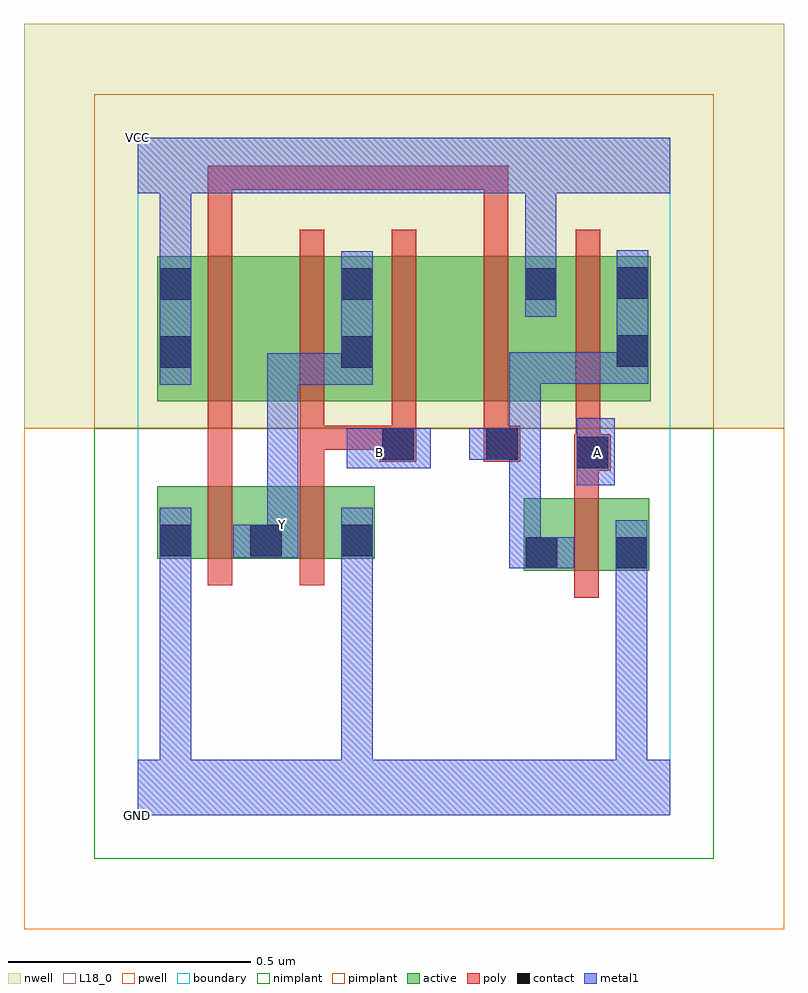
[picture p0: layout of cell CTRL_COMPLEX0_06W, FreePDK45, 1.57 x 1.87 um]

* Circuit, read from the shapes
.subckt CTRL_COMPLEX0_06W A B GND VCC Y
M1 Y n1 GND VSUBS nfet w=0.15u l=0.05u
M2 GND B Y VSUBS nfet w=0.15u l=0.05u
M3 GND A n1 VSUBS nfet w=0.15u l=0.05u
M4 n2 n1 VCC n3 pfet w=0.3u l=0.05u
M5 Y B n2 n3 pfet w=0.3u l=0.05u
M6 n4 B Y n3 pfet w=0.3u l=0.05u
M7 VCC n1 n4 n3 pfet w=0.3u l=0.05u
M8 n1 A VCC n3 pfet w=0.3u l=0.05u
.ends

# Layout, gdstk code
import gdstk
lib = gdstk.Library(unit=1e-6, precision=1e-09)
def R(c, l, rs):  # rectangles x0, y0, x1, y1
    for r in rs: c.add(gdstk.rectangle(r[:2], r[2:], *l))
def A(c, l, x, y, w, h, nx, ny, dx, dy):  # array of equal rectangles
    R(c, l, [(x+i*dx, y+j*dy, x+i*dx+w, y+j*dy+h) for i in range(nx) for j in range(ny)])
active = (1, 0)
pwell = (2, 0)
nwell = (3, 0)
nimplant = (4, 0)
pimplant = (5, 0)
poly = (9, 0)
contact = (10, 0)
metal1 = (11, 0)
L18_0 = (18, 0)
boundary = (235, 0)

ctrl_complex0_06w = lib.new_cell('CTRL_COMPLEX0_06W')
R(ctrl_complex0_06w, active, [(0.797,0.505,0.872,0.655), (0.797,0.505,1.057,0.655), (0.982,0.505,1.057,0.655), (0.04,0.53,0.115,0.68), (0.04,0.53,0.302,0.68), (0.227,0.53,0.302,0.68), (0.227,0.53,0.49,0.68), (0.415,0.53,0.49,0.68), (0.04,0.855,0.115,1.155), (0.04,0.855,0.265,1.155), (0.265,0.855,0.49,1.155), (0.415,0.855,0.49,1.155), (0.415,0.855,0.645,1.155), (0.645,0.855,0.87,1.155), (0.795,0.855,1.06,1.155), (0.985,0.855,1.06,1.155), (0.795,1.007,0.87,1.155)])
R(ctrl_complex0_06w, pwell, [(-0.235,-0.235,1.335,0.8)])
R(ctrl_complex0_06w, nwell, [(-0.235,0.8,1.335,1.635)])
R(ctrl_complex0_06w, nimplant, [(-0.09,-0.09,1.19,0.8)])
R(ctrl_complex0_06w, pimplant, [(-0.09,0.8,1.19,1.49)])
A(ctrl_complex0_06w, poly, 0.335, 0.755, 0.05, 0.095, 3, 1, 0.19, 0)
A(ctrl_complex0_06w, poly, 0.145, 0.8, 0.05, 0.41, 5, 1, 0.19, 0)
R(ctrl_complex0_06w, poly, [(0.902,0.45,0.952,0.71), (0.145,0.475,0.195,0.735), (0.335,0.475,0.385,0.735), (0.902,0.66,0.952,0.762), (0.145,0.685,0.195,0.78), (0.335,0.685,0.385,0.805), (0.902,0.712,0.977,0.787), (0.145,0.73,0.195,0.78), (0.145,0.73,0.195,0.85), (0.5,0.73,0.575,0.805), (0.715,0.73,0.79,0.805), (0.905,0.737,0.955,0.85), (0.335,0.755,0.385,0.805), (0.335,0.755,0.55,0.805), (0.5,0.755,0.55,0.805), (0.5,0.755,0.55,0.805), (0.145,1.16,0.195,1.342), (0.715,1.16,0.765,1.342), (0.145,1.292,0.195,1.342), (0.145,1.292,0.195,1.342), (0.145,1.292,0.195,1.342), (0.145,1.292,0.327,1.342), (0.277,1.292,0.327,1.342), (0.277,1.292,0.517,1.342), (0.467,1.292,0.517,1.342), (0.467,1.292,0.517,1.342), (0.467,1.292,0.517,1.342), (0.467,1.292,0.765,1.342), (0.715,1.292,0.765,1.342), (0.715,1.292,0.765,1.342), (0.715,1.292,0.765,1.342)])
R(ctrl_complex0_06w, contact, [(0.802,0.51,0.867,0.575), (0.987,0.51,1.052,0.575), (0.045,0.535,0.11,0.6), (0.232,0.535,0.297,0.6), (0.42,0.535,0.485,0.6), (0.907,0.717,0.972,0.782), (0.505,0.735,0.57,0.8), (0.72,0.735,0.785,0.8), (0.045,0.925,0.11,0.99), (0.42,0.925,0.485,0.99), (0.99,0.927,1.055,0.992), (0.045,1.065,0.11,1.13), (0.42,1.065,0.485,1.13), (0.8,1.065,0.865,1.13), (0.99,1.067,1.055,1.132)])
R(ctrl_complex0_06w, metal1, [(0,0,1.1,0.115), (0.045,0.05,0.11,0.115), (0.045,0.05,0.11,0.115), (0.045,0.05,0.11,0.115), (0.045,0.05,0.11,0.115), (0.045,0.05,0.11,0.115), (0.045,0.05,0.11,0.115), (0.045,0.05,0.11,0.115), (0.045,0.05,0.11,0.115), (0.045,0.05,0.11,0.565), (0.42,0.05,0.485,0.115), (0.42,0.05,0.485,0.115), (0.42,0.05,0.485,0.115), (0.42,0.05,0.485,0.115), (0.42,0.05,0.485,0.115), (0.42,0.05,0.485,0.115), (0.42,0.05,0.485,0.115), (0.42,0.05,0.485,0.115), (0.42,0.05,0.485,0.565), (0.987,0.05,1.052,0.115), (0.987,0.05,1.052,0.115), (0.987,0.05,1.052,0.115), (0.987,0.05,1.052,0.115), (0.987,0.05,1.052,0.115), (0.987,0.05,1.052,0.115), (0.987,0.05,1.052,0.115), (0.987,0.05,1.052,0.115), (0.987,0.05,1.052,0.54), (0.987,0.475,1.052,0.61), (0.045,0.5,0.11,0.635), (0.42,0.5,0.485,0.635), (0.767,0.51,0.832,0.8), (0.767,0.51,0.902,0.575), (0.197,0.532,0.332,0.6), (0.267,0.532,0.332,0.667), (0.267,0.535,0.332,0.6), (0.267,0.602,0.332,0.955), (0.907,0.682,0.985,0.82), (0.432,0.717,0.605,0.8), (0.685,0.735,0.82,0.8), (0.755,0.735,0.82,0.8), (0.755,0.735,0.832,0.8), (0.767,0.735,0.832,0.957), (0.045,0.89,0.11,1.165), (0.267,0.89,0.332,0.955), (0.267,0.89,0.332,0.955), (0.267,0.89,0.332,0.955), (0.267,0.89,0.485,0.955), (0.42,0.89,0.485,1.165), (0.767,0.892,0.832,0.957), (0.767,0.892,1.055,0.957), (0.99,0.892,1.055,0.957), (0.99,0.892,1.055,0.957), (0.99,0.892,1.055,1.167), (0.8,1.03,0.865,1.165), (0.045,1.1,0.11,1.165), (0.045,1.1,0.11,1.165), (0.045,1.1,0.11,1.35), (0.8,1.1,0.865,1.35), (0,1.285,1.1,1.4), (0.8,1.285,0.865,1.35), (0.8,1.285,0.865,1.35)])
R(ctrl_complex0_06w, L18_0, [(0,0,1.1,0.115), (0.045,0.05,0.11,0.115), (0.045,0.05,0.11,0.115), (0.045,0.05,0.11,0.115), (0.045,0.05,0.11,0.115), (0.045,0.05,0.11,0.115), (0.045,0.05,0.11,0.115), (0.045,0.05,0.11,0.115), (0.045,0.05,0.11,0.115), (0.045,0.05,0.11,0.565), (0.42,0.05,0.485,0.115), (0.42,0.05,0.485,0.115), (0.42,0.05,0.485,0.115), (0.42,0.05,0.485,0.115), (0.42,0.05,0.485,0.115), (0.42,0.05,0.485,0.115), (0.42,0.05,0.485,0.115), (0.42,0.05,0.485,0.115), (0.42,0.05,0.485,0.565), (0.987,0.05,1.052,0.115), (0.987,0.05,1.052,0.115), (0.987,0.05,1.052,0.115), (0.987,0.05,1.052,0.115), (0.987,0.05,1.052,0.115), (0.987,0.05,1.052,0.115), (0.987,0.05,1.052,0.115), (0.987,0.05,1.052,0.115), (0.987,0.05,1.052,0.54), (0.987,0.475,1.052,0.61), (0.045,0.5,0.11,0.635), (0.42,0.5,0.485,0.635), (0.197,0.532,0.332,0.6), (0.267,0.532,0.332,0.667), (0.267,0.535,0.332,0.6), (0.267,0.567,0.332,0.632), (0.267,0.602,0.332,0.955), (0.907,0.682,0.985,0.82), (0.432,0.717,0.605,0.8), (0.467,0.717,0.532,0.782), (0.917,0.717,0.982,0.782), (0.045,0.89,0.11,1.165), (0.267,0.89,0.332,0.955), (0.267,0.89,0.332,0.955), (0.267,0.89,0.332,0.955), (0.267,0.89,0.485,0.955), (0.42,0.89,0.485,1.165), (0.8,1.03,0.865,1.165), (0.045,1.1,0.11,1.165), (0.045,1.1,0.11,1.165), (0.045,1.1,0.11,1.35), (0.8,1.1,0.865,1.35), (0,1.285,1.1,1.4), (0.8,1.285,0.865,1.35), (0.8,1.285,0.865,1.35)])
R(ctrl_complex0_06w, boundary, [(0,0,1.1,1.4)])
ctrl_complex0_06w.add(gdstk.Label('A', (0.95,0.75), layer=11, texttype=0))
ctrl_complex0_06w.add(gdstk.Label('B', (0.5,0.75), layer=11, texttype=0))
ctrl_complex0_06w.add(gdstk.Label('Y', (0.3,0.6), layer=11, texttype=0))
ctrl_complex0_06w.add(gdstk.Label('VCC', (0,1.4), layer=11, texttype=0))
ctrl_complex0_06w.add(gdstk.Label('GND', (0,0), layer=11, texttype=0))

lib.write_gds('CTRL_COMPLEX0_06W.gds')
